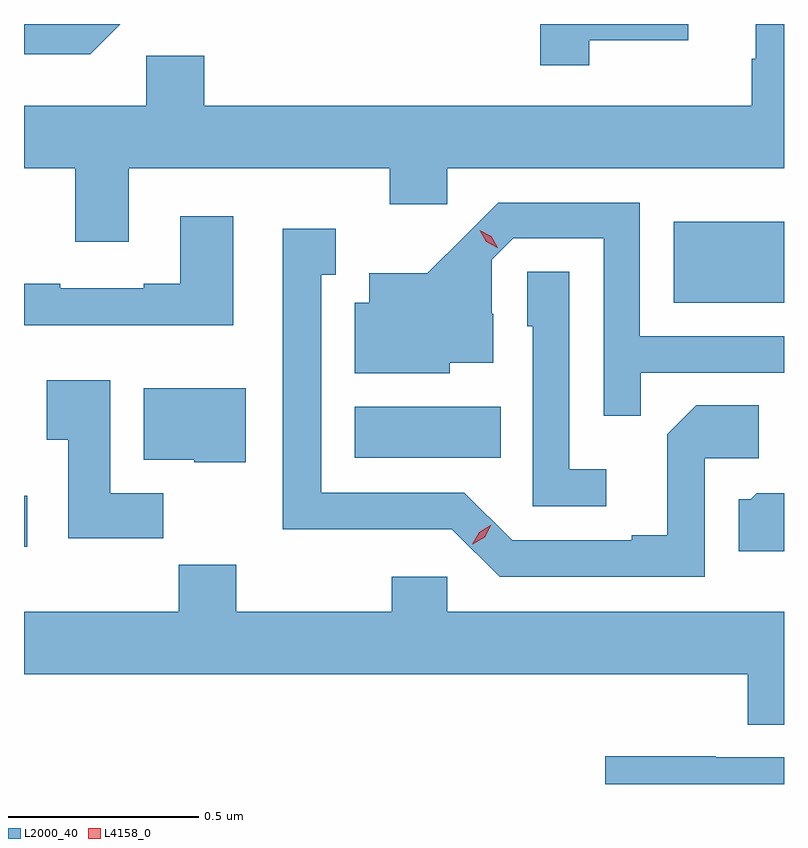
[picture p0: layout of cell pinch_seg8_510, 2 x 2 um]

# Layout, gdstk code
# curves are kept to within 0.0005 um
import gdstk
lib = gdstk.Library(unit=1e-6, precision=1e-09)
def R(c, l, rs):  # rectangles x0, y0, x1, y1
    for r in rs: c.add(gdstk.rectangle(r[:2], r[2:], *l))
def P(c, l, *ps):  # polygons
    for p in ps: c.add(gdstk.Polygon(p, *l))
L2000_40 = (2000, 40)
L4158_0 = (4158, 0)

pinch_seg8_510 = lib.new_cell('pinch_seg8_510')
R(pinch_seg8_510, L2000_40, [(157.148,1123.496,157.156,1123.63), (158.018,1123.73,158.402,1123.864), (158.858,1124.138,159.148,1124.35)])
P(pinch_seg8_510, L2000_40, [(157.423,1124.492),(158.111,1124.492),(158.111,1124.397),(158.262,1124.397),(158.262,1124.492),(159.148,1124.492),(159.148,1124.871),(159.074,1124.871),(159.074,1124.78),(159.063,1124.78),(159.063,1124.656),(157.622,1124.656),(157.622,1124.788),(157.47,1124.788),(157.47,1124.656),(157.148,1124.656),(157.148,1124.492),(157.283,1124.492),(157.283,1124.298),(157.423,1124.298)],
  [(157.401,1124.871),(157.148,1124.871),(157.148,1124.792),(157.322,1124.792)],
  [(158.635,1124.828),(158.896,1124.828),(158.896,1124.871),(158.506,1124.871),(158.506,1124.763),(158.635,1124.763)],
  [(158.771,1123.953),(159.148,1123.953),(159.148,1124.049),(158.769,1124.049),(158.769,1124.4),(158.396,1124.4),(158.209,1124.215),(158.057,1124.215),(158.057,1124.137),(158.018,1124.137),(158.018,1123.952),(158.268,1123.952),(158.268,1123.979),(158.383,1123.979),(158.383,1124.108),(158.379,1124.108),(158.379,1124.25),(158.436,1124.307),(158.673,1124.307),(158.673,1123.84),(158.771,1123.84)],
  [(157.699,1124.365),(157.559,1124.365),(157.559,1124.188),(157.463,1124.188),(157.463,1124.175),(157.243,1124.175),(157.243,1124.188),(157.148,1124.188),(157.148,1124.078),(157.699,1124.078)],
  [(158.94,1123.728),(159.082,1123.728),(159.082,1123.868),(158.917,1123.868),(158.841,1123.792),(158.841,1123.525),(158.747,1123.525),(158.747,1123.512),(158.433,1123.512),(158.307,1123.638),(157.93,1123.638),(157.93,1124.211),(157.969,1124.211),(157.969,1124.332),(157.829,1124.332),(157.829,1123.541),(158.052,1123.541),(158.052,1123.542),(158.274,1123.542),(158.4,1123.416),(158.94,1123.416)],
  [(158.68,1123.699),(158.583,1123.699),(158.583,1124.219),(158.472,1124.219),(158.472,1124.076),(158.487,1124.076),(158.487,1123.602),(158.68,1123.602)],
  [(157.514,1123.636),(157.375,1123.636),(157.375,1123.933),(157.208,1123.933),(157.208,1123.777),(157.265,1123.777),(157.265,1123.518),(157.514,1123.518)],
  [(157.732,1123.912),(157.463,1123.912),(157.463,1123.724),(157.596,1123.724),(157.596,1123.718),(157.732,1123.718)],
  [(159.148,1123.636),(159.076,1123.636),(159.06,1123.62),(159.029,1123.62),(159.029,1123.484),(159.148,1123.484)],
  [(159.148,1123.324),(158.262,1123.324),(158.262,1123.417),(158.116,1123.417),(158.116,1123.324),(157.707,1123.324),(157.707,1123.448),(157.555,1123.448),(157.555,1123.324),(157.148,1123.324),(157.148,1123.16),(159.053,1123.16),(159.053,1123.027),(159.148,1123.027)],
  [(159.148,1122.942),(158.969,1122.942),(158.969,1122.944),(158.677,1122.944),(158.677,1122.871),(159.148,1122.871)])
P(pinch_seg8_510, L4158_0, [(158.394,1124.282),(158.364,1124.298),(158.347,1124.328),(158.347,1124.328),(158.347,1124.328),(158.378,1124.312),(158.395,1124.282),(158.395,1124.282)],
  [(158.328,1123.502),(158.328,1123.502),(158.346,1123.534),(158.378,1123.553),(158.378,1123.553),(158.378,1123.553),(158.361,1123.521),(158.329,1123.502)])

lib.write_gds('pinch_seg8_510.gds')
